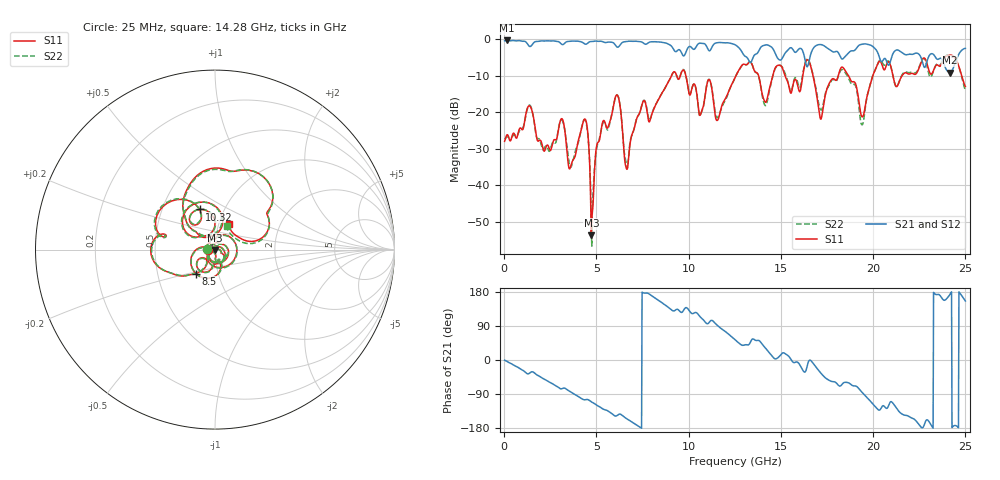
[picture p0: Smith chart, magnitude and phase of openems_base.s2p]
! R_s4_rect_n1: Finite board 24 × 16 mm, via L1 → L4 through the L2/L3 cavity, one GND via 2 mm away
! stackup: 4-layer 1.6 mm FR-4
! ports: 1 L1, 2 L4
! openEMS 0.37.0, staircase, base mesh (dfine 0.07 mm), 679236 cells
# Hz S RI R 50
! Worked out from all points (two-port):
!   1000 points, 25 MHz to 25 GHz, reference 50 ohm
!   highest |S21| = -0.35 dB at 150 MHz (marker M1); lowest = -9.1 dB at 24.15 GHz (marker M2)
!   |S21| within 3 dB of the highest: start of sweep to 9.265 GHz; 9.87 GHz to 12.87 GHz (3.003 GHz wide, 26.4 % of centre)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
!   lowest |S11| = -53.7 dB at 4.725 GHz (marker M3), VSWR 1.00, Z = 49.9 - j0.193 ohm
!   |S11| at or under -10 dB: start of sweep to 9.071 GHz; 9.848 GHz to 12.56 GHz (2.713 GHz wide, 24.2 % of centre); 16.74 GHz to 18.11 GHz (1.369 GHz wide, 7.86 % of centre)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
!   |S22| runs from -56.7 to -4.4 dB; largest |S21 - S12| = 0.0035
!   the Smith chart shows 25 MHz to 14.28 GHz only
!   S11 on the Smith chart (normalised r, x): 25 MHz: 0.92, -0.00; 8.5 GHz: 0.78, -0.22; 10.32 GHz: 0.77, +0.36; 14.28 GHz: 1.12, +0.32
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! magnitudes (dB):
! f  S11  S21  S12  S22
! 25 MHz  -28.0  -0.4  -0.4  -27.4
! 150 MHz  -26.2  -0.4  -0.4  -26.8
! 3.125 GHz  -21.8  -1.4  -1.4  -22.2
! 3.6 GHz  -35.0  -0.5  -0.6  -35.1
! 4.2 GHz  -24.4  -0.8  -0.8  -24.1
! 4.475 GHz  -23.3  -1.3  -1.3  -23.8
! 4.725 GHz  -53.7  -0.6  -0.6  -51.2
! 6.075 GHz  -15.4  -1.9  -1.9  -15.5
! 6.625 GHz  -35.4  -0.7  -0.7  -34.5
! 8.35 GHz  -16.7  -0.7  -0.7  -16.6
! 8.5 GHz  -15.2  -0.8  -0.8  -15.3
! 10.32 GHz  -12.4  -2.7  -2.7  -12.4
! 11.55 GHz  -22.3  -1.0  -1.0  -21.5
! 12.53 GHz  -10.4  -1.6  -1.6  -10.4
! 14.28 GHz  -15.9  -1.6  -1.6  -16.7
! 16.68 GHz  -8.6  -3.3  -3.3  -8.4
! 17.15 GHz  -21.9  -1.5  -1.5  -19.3
! 18.32 GHz  -7.7  -5.4  -5.4  -8.3
! 19.4 GHz  -21.3  -1.4  -1.4  -23.5
! 20.85 GHz  -6.2  -7.1  -7.1  -6.1
! 24.15 GHz  -4.4  -9.1  -9.1  -4.4
! 25 GHz  -12.9  -2.5  -2.6  -14.0
